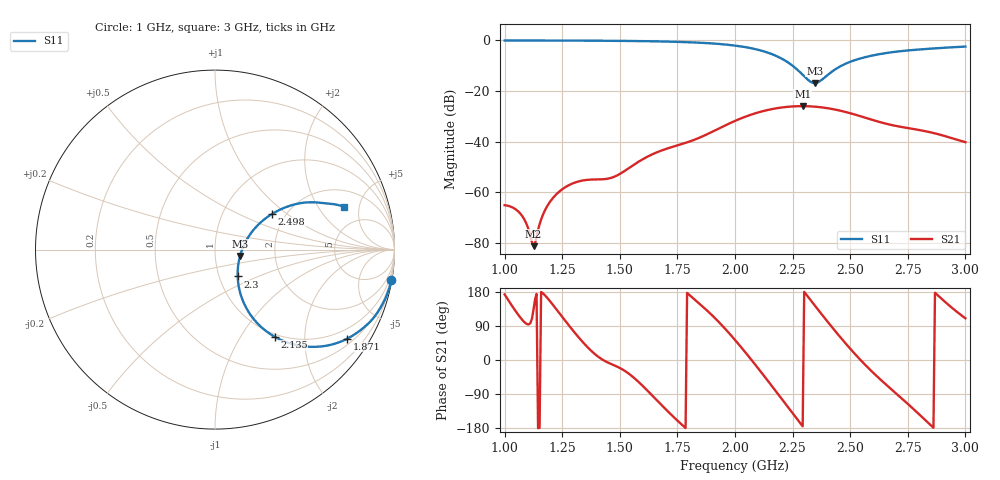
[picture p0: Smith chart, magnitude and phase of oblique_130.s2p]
! TOUCHSTONE file generated by CST MICROWAVE STUDIO
! Date and time: Tue Mar 18 00:02:12 2025
! Project name: oblique.cst
! Parameters = {Tilt=40; Fracture=1; B=10; D=160; F=15; Feed=2.85625; L=100; M=30; R=0.384908; S=1; Theta=90; length=57.125; wave=114.25}
! Header version: 2024
! Port assignment regex: !\s*Touchstone port\s*([0-9]+)\s*=\s*(CST MWS port|CST DES external port|CST DES block port)\s*(.+)\s* \(\"(.*)\"\)(\s*mode\s*([0-9]+))?.*
! Touchstone port assignment:
! Touchstone port 1 = CST MWS port 1 ("")
! Touchstone port 2 = CST MWS port 2 ("")
# GHz S DB R 50
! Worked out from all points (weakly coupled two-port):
!   304 points, 1 GHz to 3 GHz, reference 50 ohm
!   highest |S21| = -25.95 dB at 2.294 GHz (marker M1); lowest = -81.2 dB at 1.125 GHz (marker M2)
!   lowest |S11| = -16.8 dB at 2.347 GHz (marker M3), VSWR 1.34, Z = 66 - j4.7 ohm
!   |S11| at or under -10 dB: 2.25 GHz to 2.462 GHz (212.1 MHz wide, 9 % of centre)
!   S12 and S22 are empty: the file has one direction only
!   S11 on the Smith chart (normalised r, x): 1 GHz: 0, -12; 1.871 GHz: 0.67, -3.15; 2.135 GHz: 0.96, -1.42; 2.3 GHz: 1.22, -0.38; 2.498 GHz: 1.70, +0.79; 3 GHz: 3.11, +3.48
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1  -0.02 -9.8  -65.04 173.0  -200.00 0.0  -200.00 0.0
1.07261  -0.03 -10.8  -68.86 108.8  -200.00 0.0  -200.00 0.0
1.09241  -0.03 -11.1  -71.90 96.5  -200.00 0.0  -200.00 0.0
1.12541  -0.04 -11.6  -81.22 132.9  -200.00 0.0  -200.00 0.0
1.13201  -0.04 -11.7  -80.08 159.3  -200.00 0.0  -200.00 0.0
1.16502  -0.04 -12.2  -69.13 176.6  -200.00 0.0  -200.00 0.0
1.20462  -0.05 -12.8  -62.78 149.5  -200.00 0.0  -200.00 0.0
1.26403  -0.07 -13.9  -57.91 102.9  -200.00 0.0  -200.00 0.0
1.33663  -0.09 -15.2  -55.34 49.1  -200.00 0.0  -200.00 0.0
1.47525  -0.17 -18.4  -53.85 -14.0  -200.00 0.0  -200.00 0.0
1.66667  -0.39 -24.3  -43.97 -109.8  -200.00 0.0  -200.00 0.0
1.87129  -1.03 -34.0  -37.38 134.7  -200.00 0.0  -200.00 0.0
2.0033  -2.09 -43.5  -31.65 50.6  -200.00 0.0  -200.00 0.0
2.13531  -4.61 -55.7  -27.60 -49.2  -200.00 0.0  -200.00 0.0
2.22112  -8.17 -61.7  -26.28 -117.2  -200.00 0.0  -200.00 0.0
2.29373  -13.57 -52.6  -25.95 -175.0  -200.00 0.0  -200.00 0.0
2.30033  -14.17 -49.8  -25.96 179.8  -200.00 0.0  -200.00 0.0
2.33993  -16.79 -20.4  -26.11 148.7  -200.00 0.0  -200.00 0.0
2.34653  -16.84 -14.0  -26.16 143.6  -200.00 0.0  -200.00 0.0
2.49835  -8.50 32.0  -28.70 31.0  -200.00 0.0  -200.00 0.0
2.66997  -4.80 27.2  -33.20 -72.6  -200.00 0.0  -200.00 0.0
3  -2.44 18.5  -40.16 110.1  -200.00 0.0  -200.00 0.0
